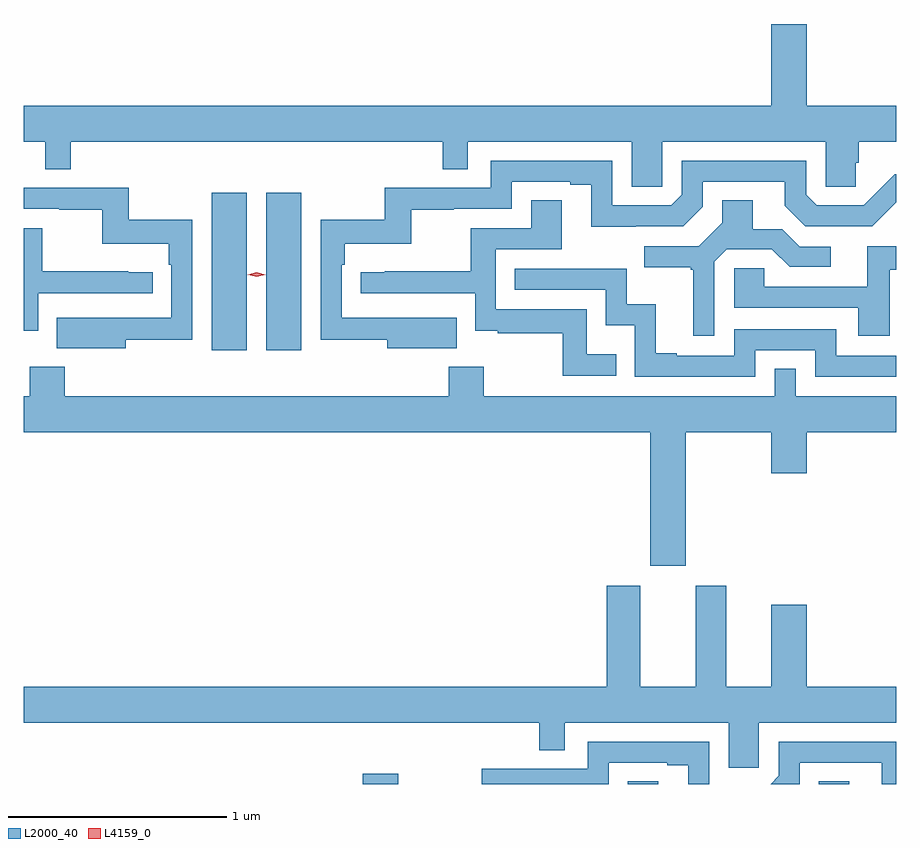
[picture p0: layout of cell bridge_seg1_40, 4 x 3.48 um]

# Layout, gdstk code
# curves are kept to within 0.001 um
import gdstk
lib = gdstk.Library(unit=1e-6, precision=1e-09)
def R(c, l, rs):  # rectangles x0, y0, x1, y1
    for r in rs: c.add(gdstk.rectangle(r[:2], r[2:], *l))
def P(c, l, *ps):  # polygons
    for p in ps: c.add(gdstk.Polygon(p, *l))
L2000_40 = (2000, 40)
L4159_0 = (4159, 0)

bridge_seg1_40 = lib.new_cell('bridge_seg1_40')
R(bridge_seg1_40, L2000_40, [(1026.272,538.13,1026.433,538.177), (1027.487,538.13,1027.627,538.142), (1028.363,538.13,1028.503,538.142), (1025.579,540.12,1025.74,540.841), (1025.828,540.12,1025.989,540.841)])
P(bridge_seg1_40, L2000_40, [(1027.644,541.076),(1028.394,541.076),(1028.394,540.868),(1028.531,540.868),(1028.531,540.978),(1028.546,540.978),(1028.546,541.076),(1028.717,541.076),(1028.717,541.24),(1028.308,541.24),(1028.308,541.615),(1028.144,541.615),(1028.144,541.24),(1024.717,541.24),(1024.717,541.076),(1024.815,541.076),(1024.815,540.949),(1024.931,540.949),(1024.931,541.076),(1026.637,541.076),(1026.637,540.949),(1026.753,540.949),(1026.753,541.076),(1027.505,541.076),(1027.505,540.868),(1027.644,540.868)],
  [(1026.701,540.268),(1026.174,540.267),(1026.174,540.512),(1026.188,540.512),(1026.188,540.608),(1026.493,540.608),(1026.493,540.763),(1026.689,540.763),(1026.689,540.768),(1026.954,540.768),(1026.954,540.891),(1027.223,540.891),(1027.223,540.879),(1027.319,540.879),(1027.319,540.686),(1027.74,540.687),(1027.83,540.777),(1027.83,540.891),(1028.207,540.891),(1028.207,540.781),(1028.301,540.687),(1028.607,540.687),(1028.717,540.797),(1028.717,540.925),(1028.71,540.925),(1028.568,540.783),(1028.352,540.783),(1028.304,540.831),(1028.304,540.987),(1027.734,540.987),(1027.734,540.831),(1027.686,540.783),(1027.416,540.783),(1027.416,540.987),(1026.858,540.987),(1026.858,540.864),(1026.372,540.864),(1026.372,540.718),(1026.078,540.718),(1026.078,540.166),(1026.383,540.166),(1026.383,540.128),(1026.701,540.128)],
  [(1025.185,540.166),(1025.49,540.166),(1025.49,540.718),(1025.197,540.718),(1025.197,540.864),(1024.717,540.864),(1024.717,540.768),(1024.879,540.768),(1024.879,540.763),(1025.076,540.763),(1025.076,540.608),(1025.381,540.608),(1025.381,540.512),(1025.394,540.512),(1025.394,540.267),(1025.081,540.267),(1025.081,540.268),(1024.867,540.268),(1024.867,540.128),(1025.185,540.128)],
  [(1027.884,540.525),(1027.941,540.582),(1028.147,540.582),(1028.228,540.501),(1028.416,540.501),(1028.416,540.594),(1028.274,540.594),(1028.194,540.674),(1028.059,540.674),(1028.059,540.806),(1027.919,540.806),(1027.919,540.704),(1027.812,540.597),(1027.563,540.597),(1027.563,540.5),(1027.776,540.5),(1027.776,540.489),(1027.787,540.489),(1027.787,540.186),(1027.884,540.186)],
  [(1027.433,540.1),(1027.299,540.1),(1027.299,540.306),(1026.882,540.306),(1026.882,540.582),(1027.183,540.582),(1027.183,540.806),(1027.043,540.806),(1027.043,540.678),(1026.766,540.678),(1026.766,540.482),(1026.373,540.482),(1026.373,540.477),(1026.261,540.477),(1026.261,540.381),(1026.786,540.381),(1026.786,540.209),(1026.889,540.209),(1026.889,540.198),(1027.188,540.198),(1027.188,540.003),(1027.433,540.003)],
  [(1024.782,540.381),(1025.308,540.381),(1025.308,540.477),(1025.195,540.477),(1025.195,540.482),(1024.802,540.482),(1024.802,540.678),(1024.717,540.678),(1024.717,540.209),(1024.782,540.209)],
  [(1028.687,540.489),(1028.717,540.489),(1028.717,540.597),(1028.585,540.597),(1028.585,540.411),(1028.111,540.411),(1028.111,540.495),(1027.974,540.495),(1027.974,540.315),(1028.543,540.315),(1028.543,540.186),(1028.687,540.186)],
  [(1028.07,540.12),(1028.346,540.12),(1028.346,539.997),(1028.717,539.997),(1028.717,540.093),(1028.442,540.093),(1028.442,540.216),(1027.974,540.216),(1027.974,540.093),(1027.711,540.093),(1027.711,540.106),(1027.615,540.106),(1027.615,540.331),(1027.482,540.331),(1027.482,540.492),(1026.967,540.492),(1026.967,540.396),(1027.386,540.396),(1027.386,540.233),(1027.518,540.233),(1027.518,539.997),(1028.07,539.997)],
  [(1027.753,539.744),(1028.144,539.744),(1028.144,539.556),(1028.308,539.556),(1028.308,539.744),(1028.717,539.744),(1028.717,539.908),(1028.256,539.908),(1028.256,540.035),(1028.16,540.035),(1028.16,539.908),(1026.825,539.908),(1026.825,540.043),(1026.665,540.043),(1026.665,539.908),(1024.904,539.908),(1024.904,540.043),(1024.744,540.043),(1024.744,539.908),(1024.717,539.908),(1024.717,539.744),(1027.589,539.744),(1027.589,539.13),(1027.753,539.13)],
  [(1028.088,538.412),(1028.717,538.412),(1028.717,538.576),(1028.308,538.576),(1028.308,538.951),(1028.144,538.951),(1028.144,538.576),(1027.939,538.576),(1027.939,539.038),(1027.799,539.038),(1027.799,538.576),(1027.543,538.576),(1027.543,539.038),(1027.391,539.038),(1027.391,538.576),(1024.717,538.576),(1024.717,538.412),(1027.081,538.412),(1027.081,538.285),(1027.197,538.285),(1027.197,538.412),(1027.949,538.412),(1027.949,538.204),(1028.088,538.204)],
  [(1027.398,538.227),(1027.667,538.227),(1027.667,538.215),(1027.763,538.215),(1027.763,538.13),(1027.86,538.13),(1027.86,538.323),(1027.302,538.323),(1027.302,538.2),(1026.816,538.2),(1026.816,538.13),(1027.398,538.13)],
  [(1028.274,538.227),(1028.651,538.227),(1028.651,538.13),(1028.717,538.13),(1028.717,538.323),(1028.178,538.323),(1028.178,538.167),(1028.141,538.13),(1028.274,538.13)])
P(bridge_seg1_40, L4159_0, [(1025.784,540.456),(1025.744,540.466),(1025.744,540.466),(1025.744,540.466),(1025.784,540.476),(1025.824,540.466),(1025.824,540.466),(1025.824,540.466)])

lib.write_gds('bridge_seg1_40.gds')
